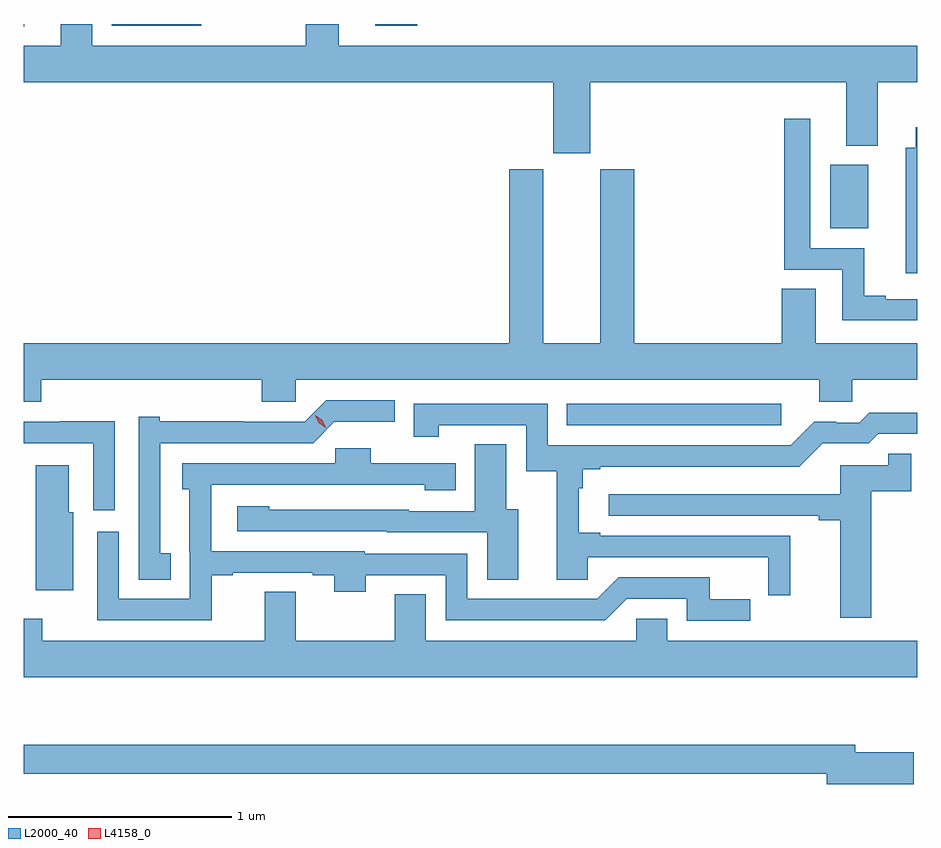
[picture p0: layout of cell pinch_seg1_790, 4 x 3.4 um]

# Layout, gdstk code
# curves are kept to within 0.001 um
import gdstk
lib = gdstk.Library(unit=1e-6, precision=1e-09)
def R(c, l, rs):  # rectangles x0, y0, x1, y1
    for r in rs: c.add(gdstk.rectangle(r[:2], r[2:], *l))
def P(c, l, *ps):  # polygons
    for p in ps: c.add(gdstk.Polygon(p, *l))
L2000_40 = (2000, 40)
L4158_0 = (4158, 0)

pinch_seg1_790 = lib.new_cell('pinch_seg1_790')
R(pinch_seg1_790, L2000_40, [(435.019,572.841,435.979,572.937), (436.199,573.722,436.369,574.006), (432.589,574.625,432.592,574.637), (432.984,574.629,433.384,574.637), (434.163,574.629,434.351,574.637)])
P(pinch_seg1_790, L2000_40, [(435.124,574.376),(436.271,574.376),(436.271,574.091),(436.411,574.091),(436.411,574.376),(436.589,574.376),(436.589,574.54),(433.999,574.54),(433.999,574.637),(433.852,574.637),(433.852,574.54),(432.895,574.54),(432.895,574.637),(432.755,574.637),(432.755,574.54),(432.589,574.54),(432.589,574.376),(434.96,574.376),(434.96,574.059),(435.124,574.059)],
  [(436.589,573.406),(436.447,573.406),(436.447,573.421),(436.352,573.421),(436.352,573.633),(436.11,573.633),(436.11,574.213),(435.994,574.213),(435.994,573.537),(436.254,573.537),(436.254,573.312),(436.589,573.312)],
  [(436.589,574.174),(436.583,574.174),(436.583,574.083),(436.538,574.083),(436.538,573.522),(436.589,573.522)],
  [(432.668,573.044),(433.655,573.044),(433.655,572.946),(433.806,572.946),(433.806,573.044),(436.151,573.044),(436.151,572.946),(436.298,572.946),(436.298,573.044),(436.589,573.044),(436.589,573.208),(436.135,573.208),(436.135,573.452),(435.983,573.452),(435.983,573.208),(435.323,573.208),(435.323,573.987),(435.17,573.987),(435.17,573.208),(434.914,573.208),(434.914,573.987),(434.762,573.987),(434.762,573.208),(432.589,573.208),(432.589,572.945),(432.668,572.945)],
  [(433.247,572.268),(433.201,572.268),(433.2,572.76),(433.884,572.76),(433.98,572.856),(434.25,572.856),(434.25,572.952),(433.944,572.952),(433.848,572.856),(433.571,572.856),(433.571,572.858),(433.197,572.858),(433.197,572.878),(433.104,572.878),(433.104,572.149),(433.247,572.149)],
  [(436.02,572.346),(435.169,572.346),(435.169,572.359),(435.073,572.359),(435.073,572.558),(435.092,572.558),(435.092,572.643),(435.169,572.643),(435.169,572.655),(436.06,572.655),(436.165,572.76),(436.372,572.76),(436.414,572.802),(436.589,572.802),(436.589,572.897),(436.373,572.897),(436.329,572.853),(436.227,572.853),(436.227,572.856),(436.128,572.856),(436.023,572.751),(434.934,572.751),(434.934,572.937),(434.335,572.937),(434.335,572.79),(434.446,572.79),(434.446,572.841),(434.838,572.841),(434.838,572.635),(434.975,572.635),(434.975,572.149),(435.114,572.149),(435.114,572.25),(435.921,572.25),(435.921,572.08),(436.02,572.08)],
  [(432.996,572.858),(432.751,572.858),(432.751,572.856),(432.589,572.856),(432.589,572.76),(432.9,572.76),(432.9,572.46),(432.996,572.46)],
  [(434.803,572.464),(434.749,572.464),(434.749,572.756),(434.609,572.756),(434.609,572.457),(434.313,572.457),(434.313,572.463),(433.689,572.463),(433.689,572.479),(433.545,572.479),(433.545,572.367),(434.214,572.367),(434.214,572.361),(434.663,572.361),(434.663,572.149),(434.803,572.149)],
  [(435.842,572.062),(435.659,572.062),(435.659,572.16),(435.252,572.16),(435.156,572.064),(434.574,572.064),(434.574,572.265),(434.115,572.265),(434.115,572.277),(433.428,572.277),(433.428,572.574),(434.385,572.574),(434.385,572.549),(434.524,572.549),(434.524,572.67),(434.142,572.67),(434.142,572.739),(433.983,572.739),(433.983,572.67),(433.298,572.67),(433.298,572.554),(433.331,572.554),(433.332,572.064),(433.014,572.064),(433.014,572.365),(432.918,572.365),(432.918,571.968),(433.431,571.968),(433.431,572.169),(433.525,572.169),(433.525,572.181),(433.883,572.181),(433.883,572.169),(433.979,572.169),(433.979,572.096),(434.119,572.096),(434.119,572.169),(434.478,572.169),(434.478,571.968),(435.192,571.968),(435.288,572.064),(435.558,572.064),(435.558,571.965),(435.842,571.965)],
  [(436.384,572.545),(436.561,572.545),(436.561,572.713),(436.459,572.713),(436.459,572.661),(436.244,572.661),(436.244,572.532),(435.207,572.532),(435.207,572.436),(436.148,572.436),(436.148,572.416),(436.244,572.416),(436.244,571.98),(436.384,571.98)],
  [(432.811,572.451),(432.79,572.451),(432.79,572.662),(432.644,572.662),(432.644,572.103),(432.811,572.103)],
  [(434.249,572.084),(434.249,571.876),(433.807,571.876),(433.807,572.096),(433.667,572.096),(433.667,571.876),(432.673,571.876),(432.673,571.975),(432.589,571.975),(432.589,571.712),(436.589,571.712),(436.589,571.876),(435.469,571.876),(435.469,571.974),(435.33,571.974),(435.33,571.876),(434.389,571.876),(434.389,572.084)],
  [(436.573,571.377),(436.312,571.377),(436.312,571.411),(432.589,571.411),(432.589,571.282),(436.184,571.282),(436.184,571.235),(436.573,571.235)])
P(pinch_seg1_790, L4158_0, [(433.94,572.83),(433.909,572.851),(433.894,572.885),(433.894,572.886),(433.894,572.886),(433.925,572.864),(433.94,572.831),(433.94,572.83)])

lib.write_gds('pinch_seg1_790.gds')
